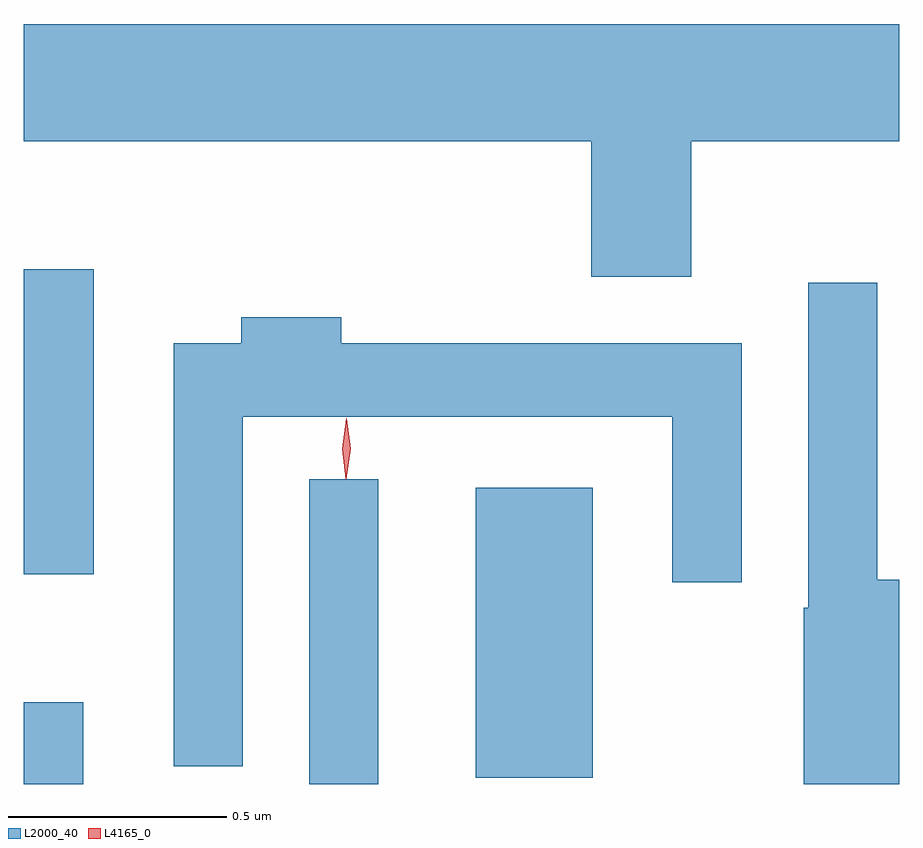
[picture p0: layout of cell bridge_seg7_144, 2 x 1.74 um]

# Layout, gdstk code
import gdstk
lib = gdstk.Library(unit=1e-6, precision=1e-09)
def R(c, l, rs):  # rectangles x0, y0, x1, y1
    for r in rs: c.add(gdstk.rectangle(r[:2], r[2:], *l))
def P(c, l, *ps):  # polygons
    for p in ps: c.add(gdstk.Polygon(p, *l))
L2000_40 = (2000, 40)
L4165_0 = (4165, 0)

bridge_seg7_144 = lib.new_cell('bridge_seg7_144')
R(bridge_seg7_144, L2000_40, [(1476.664,1723.947,1476.799,1724.134), (1477.316,1723.947,1477.474,1724.643), (1477.696,1723.961,1477.964,1724.624), (1476.664,1724.426,1476.824,1725.124)])
P(bridge_seg7_144, L2000_40, [(1478.189,1725.416),(1478.664,1725.416),(1478.664,1725.684),(1476.664,1725.684),(1476.664,1725.416),(1477.961,1725.416),(1477.961,1725.106),(1478.189,1725.106)],
  [(1478.664,1724.414),(1478.614,1724.414),(1478.614,1725.093),(1478.456,1725.093),(1478.456,1724.35),(1478.446,1724.35),(1478.446,1723.947),(1478.664,1723.947)],
  [(1477.164,1724.786),(1478.146,1724.786),(1478.146,1724.408),(1478.304,1724.408),(1478.304,1724.954),(1477.389,1724.954),(1477.389,1725.014),(1477.161,1725.014),(1477.161,1724.954),(1477.006,1724.954),(1477.006,1723.988),(1477.164,1723.988)])
P(bridge_seg7_144, L4165_0, [(1477.4,1724.644),(1477.4,1724.644),(1477.391,1724.713),(1477.401,1724.782),(1477.401,1724.783),(1477.402,1724.782),(1477.411,1724.713),(1477.401,1724.644)])

lib.write_gds('bridge_seg7_144.gds')
